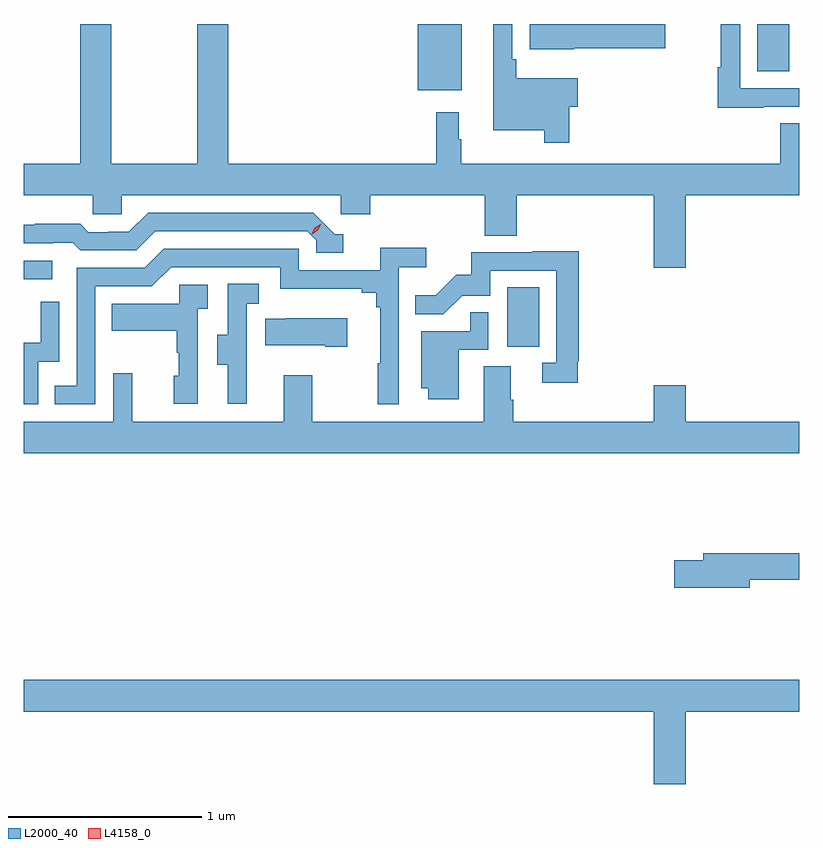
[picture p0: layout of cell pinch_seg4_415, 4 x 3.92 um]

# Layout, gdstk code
import gdstk
lib = gdstk.Library(unit=1e-6, precision=1e-09)
def R(c, l, rs):  # rectangles x0, y0, x1, y1
    for r in rs: c.add(gdstk.rectangle(r[:2], r[2:], *l))
def P(c, l, *ps):  # polygons
    for p in ps: c.add(gdstk.Polygon(p, *l))
L2000_40 = (2000, 40)
L4158_0 = (4158, 0)

pinch_seg4_415 = lib.new_cell('pinch_seg4_415')
R(pinch_seg4_415, L2000_40, [(991.424,774.726,991.588,775.033), (988.929,775.074,989.074,775.17), (990.962,776.051,991.189,776.392), (992.714,776.148,992.878,776.392)])
P(pinch_seg4_415, L2000_40, [(991.77,776.267),(992.239,776.267),(992.239,776.392),(991.538,776.392),(991.538,776.261),(991.77,776.261)],
  [(991.742,775.966),(991.786,775.966),(991.786,776.113),(991.469,776.113),(991.469,776.209),(991.449,776.209),(991.449,776.392),(991.352,776.392),(991.352,775.844),(991.614,775.844),(991.614,775.779),(991.742,775.779)],
  [(992.747,775.965),(992.929,775.965),(992.929,776.061),(992.625,776.061),(992.625,776.392),(992.524,776.392),(992.524,776.168),(992.509,776.168),(992.509,775.96),(992.747,775.96)],
  [(992.344,775.508),(992.929,775.508),(992.929,775.88),(992.831,775.88),(992.831,775.672),(991.186,775.672),(991.186,775.796),(991.174,775.796),(991.174,775.936),(991.057,775.936),(991.057,775.672),(989.984,775.672),(989.984,776.392),(989.824,776.392),(989.824,775.672),(989.379,775.672),(989.379,776.392),(989.219,776.392),(989.219,775.672),(988.929,775.672),(988.929,775.508),(989.283,775.508),(989.283,775.41),(989.433,775.41),(989.433,775.508),(990.564,775.508),(990.564,775.41),(990.716,775.41),(990.716,775.508),(991.307,775.508),(991.307,775.3),(991.472,775.3),(991.472,775.508),(992.18,775.508),(992.18,775.134),(992.344,775.134)],
  [(990.577,775.308),(990.534,775.308),(990.423,775.419),(989.57,775.419),(989.471,775.32),(989.364,775.32),(989.364,775.317),(989.261,775.317),(989.219,775.36),(988.986,775.36),(988.986,775.357),(988.929,775.357),(988.929,775.26),(989.081,775.26),(989.081,775.263),(989.18,775.263),(989.219,775.224),(989.508,775.224),(989.607,775.323),(990.39,775.323),(990.438,775.275),(990.438,775.212),(990.577,775.212)],
  [(989.298,775.038),(989.589,775.038),(989.688,775.137),(990.252,775.137),(990.252,775.025),(990.671,775.025),(990.671,775.006),(990.748,775.006),(990.748,774.929),(990.767,774.929),(990.767,774.641),(990.756,774.641),(990.756,774.429),(990.864,774.429),(990.864,775.136),(991.006,775.136),(991.006,775.238),(990.767,775.238),(990.767,775.122),(990.348,775.122),(990.348,775.233),(989.651,775.233),(989.552,775.134),(989.202,775.134),(989.202,774.525),(989.089,774.525),(989.089,774.429),(989.298,774.429)],
  [(991.786,774.652),(991.793,774.652),(991.793,775.22),(991.555,775.22),(991.555,775.215),(991.237,775.215),(991.237,775.098),(991.16,775.098),(991.053,774.991),(990.949,774.991),(990.949,774.893),(991.093,774.893),(991.19,774.99),(991.335,774.99),(991.335,775.119),(991.677,775.119),(991.677,774.645),(991.605,774.645),(991.605,774.54),(991.786,774.54)],
  [(990.08,774.645),(990.078,774.645),(990.078,774.949),(990.142,774.949),(990.142,775.052),(989.982,775.052),(989.982,774.789),(989.927,774.789),(989.927,774.634),(989.981,774.634),(989.981,774.432),(990.08,774.432)],
  [(989.826,774.923),(989.878,774.923),(989.878,775.047),(989.73,775.047),(989.73,774.949),(989.383,774.949),(989.383,774.809),(989.718,774.809),(989.718,774.695),(989.728,774.695),(989.728,774.576),(989.702,774.576),(989.702,774.432),(989.826,774.432)],
  [(989.004,774.648),(989.112,774.648),(989.112,774.958),(989.016,774.958),(989.016,774.746),(988.929,774.746),(988.929,774.429),(989.004,774.429)],
  [(991.174,774.711),(991.326,774.711),(991.326,774.905),(991.231,774.905),(991.231,774.807),(990.98,774.807),(990.98,774.512),(991.016,774.512),(991.016,774.456),(991.174,774.456)],
  [(990.598,774.874),(990.283,774.874),(990.283,774.871),(990.175,774.871),(990.175,774.734),(990.485,774.734),(990.485,774.727),(990.598,774.727)],
  [(992.929,774.34),(992.344,774.34),(992.344,774.529),(992.18,774.529),(992.18,774.34),(991.454,774.34),(991.454,774.452),(991.441,774.452),(991.441,774.626),(991.301,774.626),(991.301,774.34),(990.417,774.34),(990.417,774.58),(990.269,774.58),(990.269,774.34),(989.489,774.34),(989.489,774.589),(989.391,774.589),(989.391,774.34),(988.929,774.34),(988.929,774.176),(992.929,774.176)],
  [(992.674,773.524),(992.929,773.524),(992.929,773.66),(992.435,773.66),(992.435,773.624),(992.286,773.624),(992.286,773.482),(992.674,773.482)],
  [(992.344,772.844),(992.929,772.844),(992.929,773.008),(988.929,773.008),(988.929,772.844),(992.18,772.844),(992.18,772.47),(992.344,772.47)])
P(pinch_seg4_415, L4158_0, [(990.415,775.308),(990.415,775.308),(990.431,775.341),(990.462,775.36),(990.462,775.36),(990.462,775.36),(990.446,775.327),(990.416,775.308)])

lib.write_gds('pinch_seg4_415.gds')
